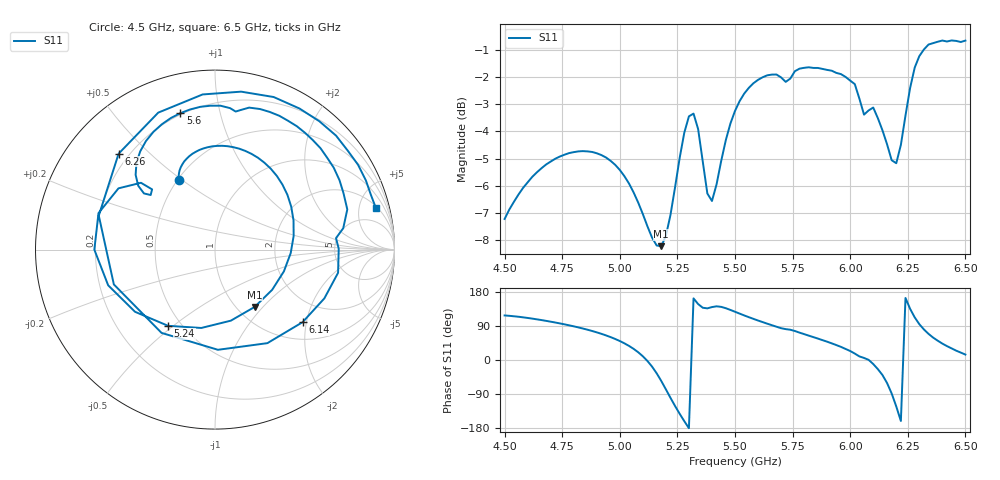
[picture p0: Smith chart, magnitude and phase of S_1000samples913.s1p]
! TOUCHSTONE file generated by CST MICROWAVE STUDIO
! Date and time: Sat Oct 29 18:57:14 2022
! Project name: L.cst
! Parameters = {Di=1.27; Epsilon_r=1.56; InnerDiameter=1.27; Length=2; Lf=10; Lg=60; OuterConductorThickness=0.2921; OuterDiameter=3.6; Wf=3; Wp=41.2; de=1.5; df=6.8; g=0.8; gx=0.559841; gy=2.08786; h=2.34; hf=1.524; px=12.8774; py=8.84449; w=9.7; wx=12.3176; wy=6.75663}
! Header version: 2018
! Port assignment regex: !\s*Touchstone port\s*([0-9]+)\s*=\s*(CST MWS port|CST DS port)\s*([0-9]+|Zmin|Zmax)\s*\(\"(.*)\"\)(\s*mode\s*([0-9]+))?.*
! Touchstone port assignment:
! Touchstone port 1 = CST MWS port 1 ("")
# GHz S DB R 50
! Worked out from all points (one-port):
!   101 points, 4.5 GHz to 6.5 GHz, reference 50 ohm
!   lowest |S11| = -8.2 dB at 5.18 GHz (marker M1), VSWR 2.27, Z = 59.9 - j45 ohm
!   |S11| at or under -10 dB: nowhere
!   S11 on the Smith chart (normalised r, x): 4.5 GHz: 0.51, +0.48; 5.24 GHz: 0.42, -0.48; 5.6 GHz: 0.19, +0.76; 6.14 GHz: 1.41, -1.90; 6.26 GHz: 0.16, +0.40; 6.5 GHz: 2.25, +7.26
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4.5  -7.22 117.6
4.76  -4.86 94.1
4.9  -4.80 72.9
5  -5.42 50.0
5.1  -7.04 9.8
5.18  -8.22 -55.4
5.24  -6.04 -121.6
5.26  -4.97 -142.1
5.3  -3.45 -180.0
5.34  -3.92 147.6
5.38  -6.28 136.2
5.42  -5.95 141.7
5.5  -3.25 127.3
5.6  -2.11 104.2
5.76  -1.79 76.5
5.9  -1.74 48.3
6  -2.14 23.7
6.1  -3.13 -10.7
6.14  -3.96 -39.6
6.18  -5.06 -88.3
6.2  -5.17 -122.7
6.22  -4.49 -161.0
6.24  -3.42 163.7
6.26  -2.41 135.1
6.28  -1.66 112.5
6.32  -0.99 80.6
6.4  -0.66 43.3
6.5  -0.67 14.3
